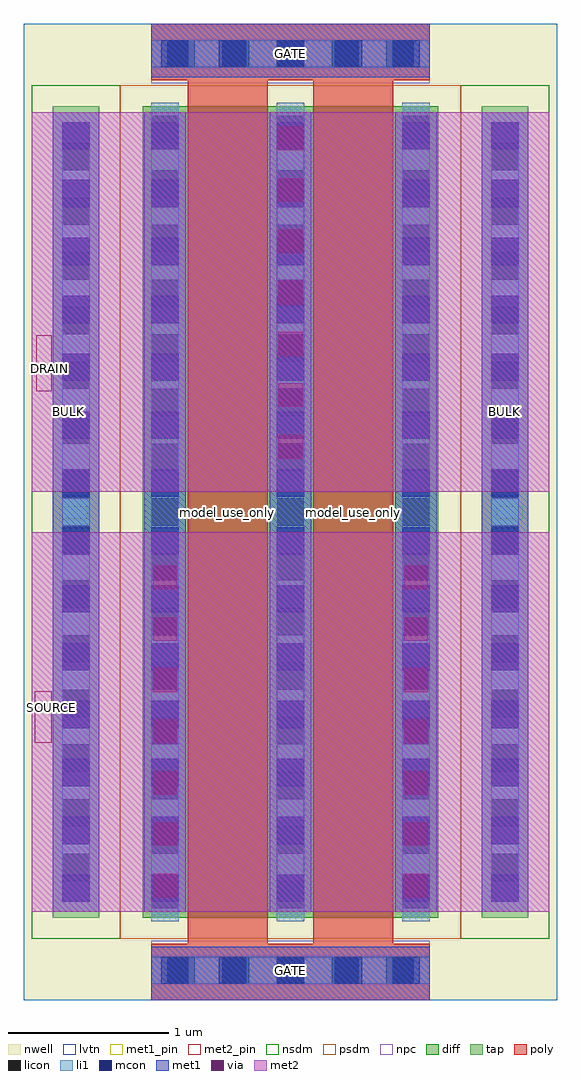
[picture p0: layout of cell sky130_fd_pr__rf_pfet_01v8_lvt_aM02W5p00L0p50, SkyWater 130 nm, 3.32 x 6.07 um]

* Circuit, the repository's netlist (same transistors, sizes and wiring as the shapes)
* Copyright 2020 The SkyWater PDK Authors
*
* Licensed under the Apache License, Version 2.0 (the "License");
* you may not use this file except in compliance with the License.
* You may obtain a copy of the License at
*
*     https://www.apache.org/licenses/LICENSE-2.0
*
* Unless required by applicable law or agreed to in writing, software
* distributed under the License is distributed on an "AS IS" BASIS,
* WITHOUT WARRANTIES OR CONDITIONS OF ANY KIND, either express or implied.
* See the License for the specific language governing permissions and
* limitations under the License.
*
* SPDX-License-Identifier: Apache-2.0


.subckt sky130_fd_pr__rf_pfet_01v8_lvt_aM02W5p00L0p50 BULK DRAIN GATE SOURCE
X0 DRAIN GATE SOURCE BULK sky130_fd_pr__pfet_01v8_lvt w=5.05e+06u l=500000u
X1 SOURCE GATE DRAIN BULK sky130_fd_pr__pfet_01v8_lvt w=5.05e+06u l=500000u
.ends

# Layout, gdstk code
import gdstk
lib = gdstk.Library(unit=1e-6, precision=1e-09)
def R(c, l, rs):  # rectangles x0, y0, x1, y1
    for r in rs: c.add(gdstk.rectangle(r[:2], r[2:], *l))
def A(c, l, x, y, w, h, nx, ny, dx, dy):  # array of equal rectangles
    R(c, l, [(x+i*dx, y+j*dy, x+i*dx+w, y+j*dy+h) for i in range(nx) for j in range(ny)])
nwell = (64, 20)
diff = (65, 20)
tap = (65, 44)
poly = (66, 20)
licon = (66, 44)
li1 = (67, 20)
mcon = (67, 44)
met1_pin = (68, 16)
met1 = (68, 20)
via = (68, 44)
met2_pin = (69, 16)
met2 = (69, 20)
nsdm = (93, 44)
psdm = (94, 20)
npc = (95, 20)
lvtn = (125, 44)

sky130_fd_pr__rf_pfet_01 = lib.new_cell('sky130_fd_pr__rf_pfet_01v8_lvt_aM02W5p00L0p50')
R(sky130_fd_pr__rf_pfet_01, nwell, [(0,0,3.32,6.07)])
R(sky130_fd_pr__rf_pfet_01, diff, [(0.74,0.51,2.58,5.56)])
R(sky130_fd_pr__rf_pfet_01, tap, [(0.18,0.51,0.47,5.56), (2.85,0.51,3.14,5.56)])
R(sky130_fd_pr__rf_pfet_01, poly, [(0.795,0,2.525,0.35), (1.02,0.35,1.52,5.72), (1.8,0.35,2.3,5.72), (0.795,5.72,2.525,6.07)])
A(sky130_fd_pr__rf_pfet_01, licon, 0.895, 0.1, 0.17, 0.17, 5, 2, 0.34, 5.7)
A(sky130_fd_pr__rf_pfet_01, licon, 0.795, 0.57, 0.17, 0.17, 3, 15, 0.78, 0.34)
A(sky130_fd_pr__rf_pfet_01, licon, 0.24, 0.74, 0.17, 0.17, 1, 14, 0, 0.34)
A(sky130_fd_pr__rf_pfet_01, licon, 2.91, 0.74, 0.17, 0.17, 1, 14, 0, 0.34)
A(sky130_fd_pr__rf_pfet_01, li1, 0.795, 0.49, 0.17, 5.09, 3, 1, 0.78, 0)
A(sky130_fd_pr__rf_pfet_01, li1, 0.795, 1.69, 0.17, 2.69, 3, 1, 0.78, 0)
R(sky130_fd_pr__rf_pfet_01, li1, [(0.795,0.1,2.525,0.27), (0.855,0.1,2.465,0.27), (0.24,0.61,0.41,5.46), (2.91,0.61,3.08,5.46), (0.24,0.66,0.41,5.41), (2.91,0.66,3.08,5.41), (0.24,1.68,0.41,4.39), (2.91,1.68,3.08,4.39), (0.795,5.8,2.525,5.97), (0.855,5.8,2.465,5.97)])
A(sky130_fd_pr__rf_pfet_01, mcon, 0.855, 0.1, 0.17, 0.17, 5, 2, 0.36, 5.7)
A(sky130_fd_pr__rf_pfet_01, mcon, 0.24, 0.61, 0.17, 0.17, 1, 14, 0, 0.36)
A(sky130_fd_pr__rf_pfet_01, mcon, 0.795, 0.61, 0.17, 0.17, 3, 14, 0.78, 0.36)
A(sky130_fd_pr__rf_pfet_01, mcon, 2.91, 0.61, 0.17, 0.17, 1, 14, 0, 0.36)
R(sky130_fd_pr__rf_pfet_01, met1_pin, [(0.795,0,2.525,0.33), (0.225,2.99,0.395,3.07), (2.935,2.99,3.105,3.07), (0.795,5.74,2.525,6.07)])
A(sky130_fd_pr__rf_pfet_01, met1, 0.75, 0.55, 0.26, 4.97, 3, 1, 0.78, 0)
R(sky130_fd_pr__rf_pfet_01, met1, [(0.795,0,2.525,0.33), (0.18,0.55,0.47,5.52), (0.75,0.55,1.01,2.79), (2.31,0.55,2.57,2.79), (2.85,0.55,3.14,5.52), (1.53,3.28,1.79,5.52), (0.795,5.74,2.525,6.07)])
A(sky130_fd_pr__rf_pfet_01, via, 0.805, 0.635, 0.15, 0.15, 1, 7, 0, 0.32)
A(sky130_fd_pr__rf_pfet_01, via, 2.365, 0.635, 0.15, 0.15, 1, 7, 0, 0.32)
A(sky130_fd_pr__rf_pfet_01, via, 1.585, 3.365, 0.15, 0.15, 1, 7, 0, 0.32)
R(sky130_fd_pr__rf_pfet_01, met2_pin, [(0.07,1.6,0.175,1.92), (0.08,3.785,0.175,4.135)])
R(sky130_fd_pr__rf_pfet_01, met2, [(0.05,0.55,3.27,2.91), (0.75,0.55,1.01,2.79), (2.31,0.55,2.57,2.79), (0.05,3.16,3.27,5.52), (1.53,3.28,1.79,5.52)])
R(sky130_fd_pr__rf_pfet_01, nsdm, [(0.05,0.38,0.6,5.69), (2.72,0.38,3.27,5.69)])
R(sky130_fd_pr__rf_pfet_01, psdm, [(0.6,0.38,2.72,5.69)])
R(sky130_fd_pr__rf_pfet_01, npc, [(0.795,0,2.525,0.37), (0.795,5.7,2.525,6.07)])
R(sky130_fd_pr__rf_pfet_01, lvtn, [(0,0,3.32,6.07)])
sky130_fd_pr__rf_pfet_01.add(gdstk.Label('model_use_only', (2.05,3.03), layer=66, texttype=83))
sky130_fd_pr__rf_pfet_01.add(gdstk.Label('model_use_only', (1.27,3.03), layer=66, texttype=83))
sky130_fd_pr__rf_pfet_01.add(gdstk.Label('DRAIN', (0.16,3.93), layer=69, texttype=5))
sky130_fd_pr__rf_pfet_01.add(gdstk.Label('SOURCE', (0.175,1.82), layer=69, texttype=5))
sky130_fd_pr__rf_pfet_01.add(gdstk.Label('GATE', (1.66,5.885), layer=68, texttype=5))
sky130_fd_pr__rf_pfet_01.add(gdstk.Label('GATE', (1.66,0.185), layer=68, texttype=5))
sky130_fd_pr__rf_pfet_01.add(gdstk.Label('BULK', (0.28,3.66), layer=68, texttype=5))
sky130_fd_pr__rf_pfet_01.add(gdstk.Label('BULK', (2.99,3.66), layer=68, texttype=5))

lib.write_gds('sky130_fd_pr__rf_pfet_01v8_lvt_aM02W5p00L0p50.gds')
